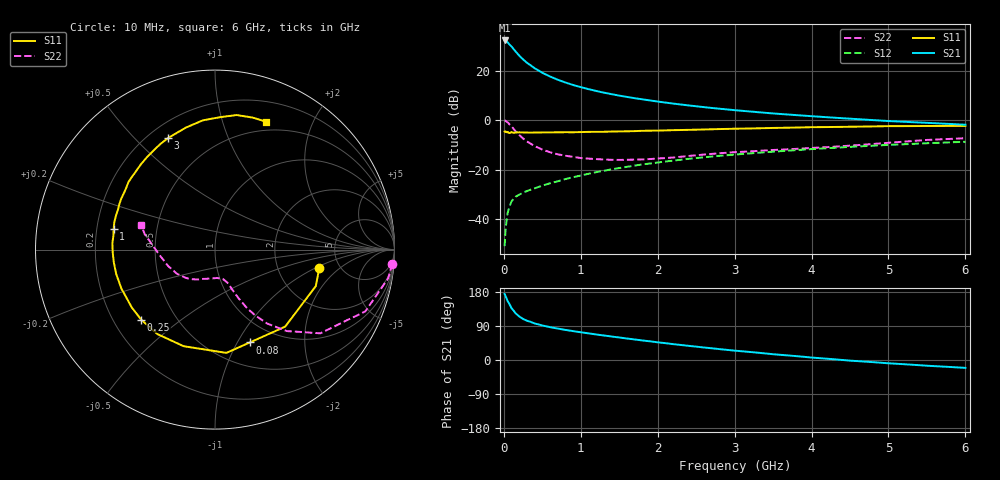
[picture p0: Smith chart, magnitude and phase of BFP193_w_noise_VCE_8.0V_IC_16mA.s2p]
! Infineon Technologies  Discrete & RF Semiconductors
! BFP193
! VCE =  8.0 V,  IC =  16 mA
! Common Emitter S-Parameters:  Jan 2017
# GHz  S  MA  R  50
!  f  S11  S21  S12  S22
! GHz  MAG  ANG  MAG  ANG  MAG  ANG  MAG  ANG
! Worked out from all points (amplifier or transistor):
!   77 points, 10 MHz to 6 GHz, reference 50 ohm
!   highest |S21| = 32.1 dB at 10 MHz (marker M1)
!   |S21| within 3 dB of that: start of sweep to 114.7 MHz
!   unconditionally stable (mu >= 1): 961.9 MHz to 2.543 GHz
!   at 130 MHz: K = 0.32, MSG = 30.1 dB, |S12| = -31.6 dB
!   at 2.2 GHz: K = 1.02, MAG = 10.6 dB, |S12| = -16.3 dB
!   at 6 GHz: K = 0.88, MSG = 3.4 dB, |S12| = -8.7 dB
!   lowest NFmin = 0.97 dB at 450 MHz
!   S11 on the Smith chart (normalised r, x): 10 MHz: 3.50, -1.11; 80 MHz: 0.76, -1.13; 250 MHz: 0.32, -0.36; 1 GHz: 0.27, +0.09; 3 GHz: 0.28, +0.63; 6 GHz: 0.40, +1.40
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0.01  0.5899 -10.1  40.4 174.4  0.0029 87.9  0.9917 -4.6
0.02  0.5973 -19.9  40.3 169.5  0.0054 89.8  0.9775 -9.5
0.05  0.5806 -47.7  37.06 155.1  0.0136 70.7  0.9056 -22.3
0.08  0.5524 -69.4  32.71 144.8  0.0193 63.8  0.8038 -31.3
0.1  0.579 -83.7  30.53 136.5  0.0232 61.1  0.7493 -38.5
0.15  0.5659 -108.0  24.44 123.7  0.0286 52.4  0.6053 -48.6
0.2  0.5697 -124.3  20.03 115.0  0.0316 51.2  0.5041 -54.8
0.25  0.567 -136.6  16.78 108.3  0.0348 48.4  0.4284 -58.6
0.3  0.5647 -145.2  14.35 103.7  0.0374 48.2  0.3724 -61.3
0.4  0.5649 -157.4  11.12 96.4  0.0424 50.0  0.3007 -64.2
0.5  0.5672 -166.4  9.017 91.1  0.0481 52.2  0.256 -66.0
0.6  0.5684 -173.0  7.599 86.7  0.0536 53.3  0.2261 -67.5
0.7  0.5702 -178.5  6.54 83.0  0.0588 55.2  0.2056 -68.5
1  0.5764 168.4  4.635 73.2  0.0769 57.4  0.1729 -74.0
1.1  0.5817 164.5  4.227 70.3  0.0832 57.7  0.1684 -76.0
1.5  0.5945 151.4  3.128 59.4  0.1086 56.8  0.1585 -87.8
2.1  0.623 133.7  2.266 44.4  0.1469 52.8  0.1729 -109.4
3  0.6737 113.0  1.592 24.7  0.2027 44.4  0.2267 -136.0
3.1  0.6772 111.1  1.544 23.0  0.2085 43.4  0.2308 -138.5
4.1  0.7253 93.9  1.177 5.0  0.267 33.1  0.281 -163.2
5.1  0.7595 79.5  0.946 -9.9  0.3227 22.1  0.3601 173.8
6  0.7674 68.2  0.811 -20.8  0.368 12.1  0.434 161.7
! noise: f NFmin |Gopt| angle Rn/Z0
0.45  0.97  0.24  173  0.07
0.9  1.06  0.36  179  0.07
1.9  1.74  0.56  -142  0.14
2.4  2.05  0.62  -125  0.33
